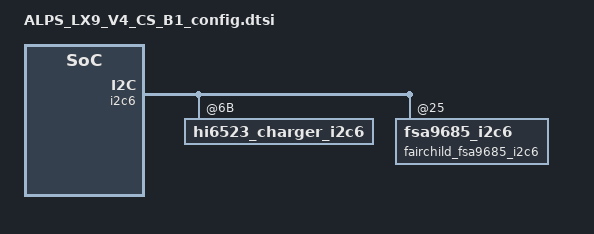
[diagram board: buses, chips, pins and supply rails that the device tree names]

/**
 * Copyright (C) 2014 Hisilicon Ltd.
 *
 *  This program is free software; you can redistribute it and/or modify
 *  it under the terms of the GNU General Public License version 2 as
 *  publishhed by the Free Software Foundation.
 */

/include/ "ALPS_LX9_V3_CS_2LANE_config.dtsi"

/ {
	hisi,boardid = <6 4 1 5>;
	hisi,boardname = "ALPS_LX9_V4_CS_B1";
	hisi,product_id = <0x39003000>;
	hisi,modem_id = <0x39003000>;
	direct_charger: direct_charger{
		scp_work_on_charger = <0>;
		status = "ok";
	};
	amba {
		i2c6: i2c@FFD6A000 {
			hi6523_charger_i2c6: hi6523_charger_i2c6@6B{
				status = "ok";
				fcp_support = <0>;
				scp_support = <0>;
				scp_need_extra_power = <0>;
			};
			fairchild_fsa9685_i2c6: fsa9685_i2c6@25{
				status = "ok";
			};
		};
	};
	devcheck: devcheck {
		usb_switch = <1>;
		status = "ok";
	};
	hisi_usb: hisi_usb@ff200000 {
		set_hi_impedance = <0x1>;
	};
};
